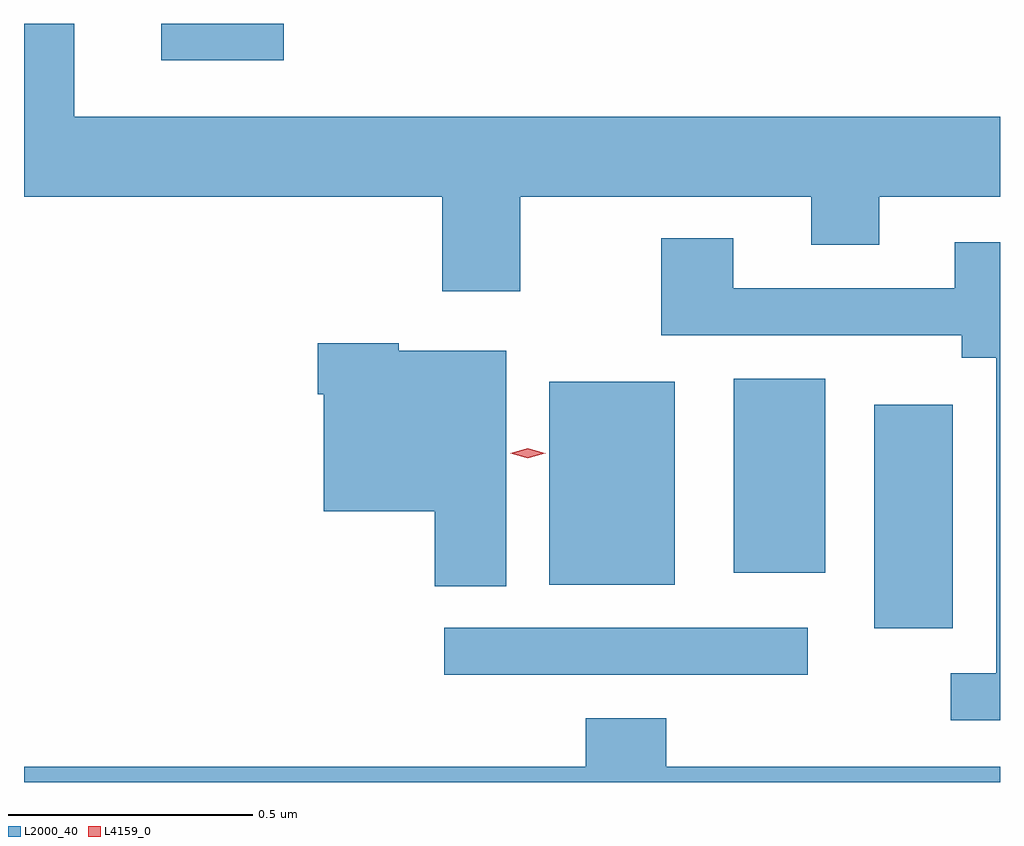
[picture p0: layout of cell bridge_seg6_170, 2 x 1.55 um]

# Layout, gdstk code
import gdstk
lib = gdstk.Library(unit=1e-6, precision=1e-09)
def R(c, l, rs):  # rectangles x0, y0, x1, y1
    for r in rs: c.add(gdstk.rectangle(r[:2], r[2:], *l))
def P(c, l, *ps):  # polygons
    for p in ps: c.add(gdstk.Polygon(p, *l))
L2000_40 = (2000, 40)
L4159_0 = (4159, 0)

bridge_seg6_170 = lib.new_cell('bridge_seg6_170')
R(bridge_seg6_170, L2000_40, [(618.915,915.72,619.66,915.816), (619.796,915.815,619.957,916.273), (619.13,915.905,619.387,916.321), (619.508,915.929,619.696,916.327), (618.335,916.979,618.586,917.054)])
P(bridge_seg6_170, L2000_40, [(619.071,916.7),(619.667,916.7),(619.667,916.601),(619.807,916.601),(619.807,916.7),(620.054,916.7),(620.054,916.864),(618.157,916.864),(618.157,917.054),(618.054,917.054),(618.054,916.7),(618.911,916.7),(618.911,916.506),(619.071,916.506)],
  [(620.054,916.606),(619.961,916.606),(619.961,916.512),(619.507,916.512),(619.507,916.615),(619.36,916.615),(619.36,916.416),(619.976,916.416),(619.976,916.37),(620.046,916.37),(620.046,915.723),(619.953,915.723),(619.953,915.627),(620.054,915.627)],
  [(619.042,916.384),(618.822,916.384),(618.822,916.399),(618.656,916.399),(618.656,916.295),(618.668,916.295),(618.668,916.055),(618.896,916.055),(618.896,915.901),(619.042,915.901)],
  [(620.054,915.532),(619.37,915.532),(619.37,915.631),(619.205,915.631),(619.205,915.532),(618.054,915.532),(618.054,915.5),(620.054,915.5)])
P(bridge_seg6_170, L4159_0, [(619.086,916.164),(619.05,916.174),(619.05,916.174),(619.05,916.174),(619.086,916.184),(619.122,916.174),(619.123,916.174),(619.122,916.174)])

lib.write_gds('bridge_seg6_170.gds')
